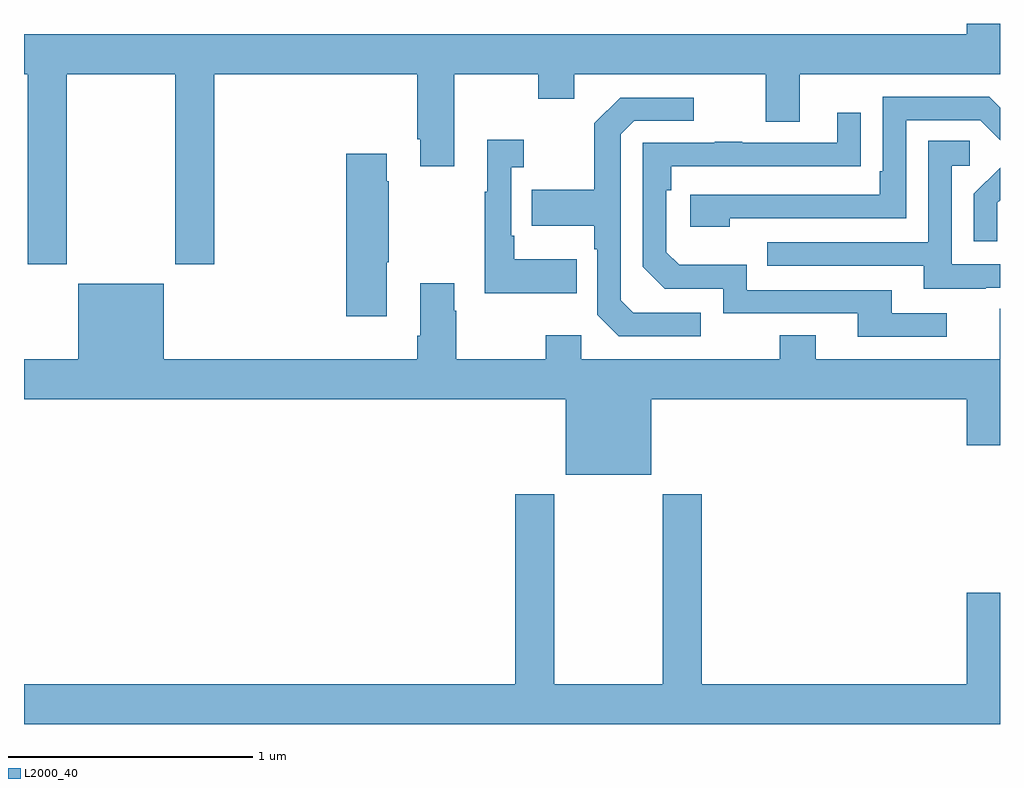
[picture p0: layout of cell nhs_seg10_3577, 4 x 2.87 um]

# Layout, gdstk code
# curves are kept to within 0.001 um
import gdstk
lib = gdstk.Library(unit=1e-6, precision=1e-09)
def P(c, l, *ps):  # polygons
    for p in ps: c.add(gdstk.Polygon(p, *l))
L2000_40 = (2000, 40)

nhs_seg10_3577 = lib.new_cell('nhs_seg10_3577')
P(nhs_seg10_3577, L2000_40, [(305.175,1324.292),(305.62,1324.292),(305.62,1323.513),(305.78,1323.513),(305.78,1324.292),(306.611,1324.292),(306.611,1324.027),(306.623,1324.027),(306.623,1323.915),(306.763,1323.915),(306.763,1324.292),(307.108,1324.292),(307.108,1324.193),(307.255,1324.193),(307.255,1324.292),(308.039,1324.292),(308.039,1324.098),(308.179,1324.098),(308.179,1324.292),(309,1324.292),(309,1324.5),(308.864,1324.5),(308.864,1324.456),(305,1324.456),(305,1324.292),(305.015,1324.292),(305.015,1323.513),(305.175,1323.513)],
  [(307.892,1323.702),(308.616,1323.702),(308.616,1324.104),(308.919,1324.104),(309,1324.023),(309,1324.155),(308.955,1324.2),(308.52,1324.2),(308.52,1323.895),(308.507,1323.895),(308.507,1323.798),(307.731,1323.798),(307.731,1323.668),(307.892,1323.668)],
  [(307.774,1323.315),(307.497,1323.315),(307.446,1323.366),(307.446,1324.047),(307.5,1324.101),(307.744,1324.101),(307.744,1324.197),(307.443,1324.197),(307.338,1324.091),(307.338,1323.819),(307.081,1323.819),(307.081,1323.671),(307.338,1323.671),(307.338,1323.575),(307.35,1323.575),(307.35,1323.306),(307.437,1323.219),(307.774,1323.219)],
  [(308.782,1323.312),(308.557,1323.312),(308.557,1323.408),(307.962,1323.408),(307.962,1323.511),(307.685,1323.511),(307.632,1323.564),(307.632,1323.818),(307.652,1323.818),(307.652,1323.915),(308.429,1323.916),(308.429,1324.135),(308.333,1324.135),(308.333,1324.011),(307.943,1324.011),(307.943,1324.016),(307.831,1324.016),(307.831,1324.011),(307.536,1324.011),(307.536,1323.504),(307.626,1323.414),(307.866,1323.414),(307.866,1323.312),(308.417,1323.312),(308.417,1323.216),(308.782,1323.216)],
  [(307.265,1323.535),(307.009,1323.535),(307.009,1323.631),(306.996,1323.631),(306.996,1323.911),(307.048,1323.911),(307.048,1324.024),(306.899,1324.024),(306.899,1323.811),(306.888,1323.811),(306.888,1323.395),(307.265,1323.395)],
  [(308.941,1323.417),(309,1323.417),(309,1323.513),(308.802,1323.513),(308.802,1323.918),(308.875,1323.918),(308.875,1324.019),(308.706,1324.019),(308.706,1323.603),(308.047,1323.603),(308.047,1323.507),(308.687,1323.507),(308.687,1323.413),(308.941,1323.413)],
  [(306.487,1323.523),(306.495,1323.523),(306.495,1323.854),(306.487,1323.854),(306.487,1323.967),(306.32,1323.967),(306.32,1323.3),(306.487,1323.3)],
  [(308.989,1323.765),(309,1323.776),(309,1323.91),(308.892,1323.802),(308.892,1323.609),(308.989,1323.609)],
  [(309,1323.332),(308.999,1323.332),(308.999,1323.124),(308.245,1323.124),(308.245,1323.223),(308.098,1323.223),(308.098,1323.124),(307.284,1323.124),(307.284,1323.223),(307.138,1323.223),(307.138,1323.124),(306.771,1323.124),(306.771,1323.323),(306.763,1323.323),(306.763,1323.436),(306.623,1323.436),(306.623,1323.22),(306.611,1323.22),(306.611,1323.124),(305.572,1323.124),(305.572,1323.433),(305.222,1323.433),(305.222,1323.124),(305,1323.124),(305,1322.96),(307.22,1322.96),(307.22,1322.651),(307.57,1322.651),(307.57,1322.96),(308.864,1322.96),(308.864,1322.772),(309,1322.772)],
  [(309,1322.167),(308.864,1322.167),(308.864,1321.792),(307.778,1321.792),(307.778,1322.572),(307.618,1322.572),(307.618,1321.792),(307.173,1321.792),(307.173,1322.572),(307.013,1322.572),(307.013,1321.792),(305,1321.792),(305,1321.628),(309,1321.628)])

lib.write_gds('nhs_seg10_3577.gds')
